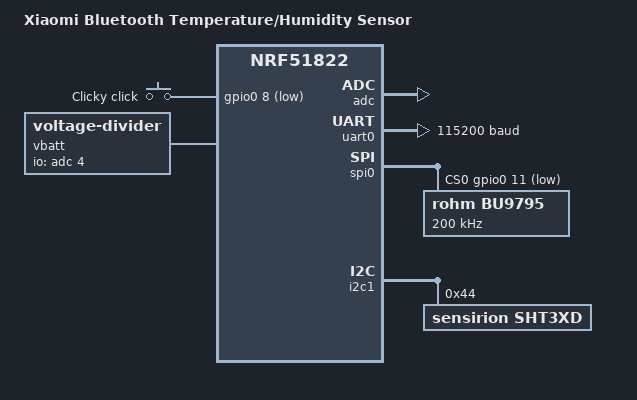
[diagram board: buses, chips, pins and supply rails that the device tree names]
/*
 * Copyright (c) 2017 VNG IoT Lab Limited
 *
 * SPDX-License-Identifier: Apache-2.0
 */

/dts-v1/;
#include <nordic/nrf51822_qfaa.dtsi>
#include "xiaomi_bt_sensor-pinctrl.dtsi"
#include <zephyr/dt-bindings/input/input-event-codes.h>

/ {
	model = "Xiaomi Bluetooth Temperature/Humidity Sensor";
	compatible = "nordic,nrf51822-qfaa", "nordic,nrf51822";

	chosen {
		zephyr,console = &uart0;
		zephyr,shell-uart = &uart0;
		zephyr,uart-mcumgr = &uart0;
		zephyr,sram = &sram0;
		zephyr,flash = &flash0;
	};

	aliases {
		sw0 = &button0;
		segment0 = &segment0;
		sensor0 = &sensor0;
		vbatt = &vbatt;
	};

	buttons {
		compatible = "gpio-keys";
		button0: button_0 {
			gpios = <&gpio0 8 (GPIO_ACTIVE_LOW | GPIO_PULL_UP)>;
			label = "Clicky click";
			zephyr,code = <INPUT_KEY_0>;
		};
	};

	vbatt: vbatt {
		compatible = "voltage-divider";
		io-channels = <&adc 4>;
		output-ohms = <180000>;
		full-ohms = <(180000 + 180000)>;
	};
};

&adc {
	status = "okay";
};

&gpiote {
	status = "okay";
};

&gpio0 {
	status = "okay";
};

&uart0 {
	current-speed = <115200>;
	status = "okay";
	pinctrl-0 = <&uart0_default>;
	pinctrl-1 = <&uart0_sleep>;
	pinctrl-names = "default", "sleep";
};

&spi0 {
	compatible = "nordic,nrf-spi";
	status = "okay";
	cs-gpios = <&gpio0 11 GPIO_ACTIVE_LOW>;
	pinctrl-0 = <&spi0_default>;
	pinctrl-1 = <&spi0_sleep>;
	pinctrl-names = "default", "sleep";

	segment0: segment@0 {
		compatible = "rohm,bu9795";
		status = "okay";
		spi-max-frequency = <200000>;
		label = "BU9795";
		reg = <0>;
	};
};

&i2c1 {
	status = "okay";
	/* smba-pin = <2>; */
	pinctrl-0 = <&i2c1_default>;
	pinctrl-1 = <&i2c1_sleep>;
	pinctrl-names = "default", "sleep";

	sensor0: sht3xd@44 {
		compatible = "sensirion,sht3xd";
		status = "okay";
		label = "SHT3XD";
		reg = <0x44>;
	};
};

&flash0 {
	/*
	 * For more information, see:
	 * http: //docs.zephyrproject.org/latest/guides/dts/index.html#flash-partitions
	 */
	partitions {
		compatible = "fixed-partitions";
		#address-cells = <1>;
		#size-cells = <1>;

		boot_partition: partition@0 {
			label = "mcuboot";
			reg = <0x00000000 0x8000>;
		};
		slot0_partition: partition@8000 {
			label = "image-0";
			reg = <0x00008000 0x1a000>;
		};
		slot1_partition: partition@22000 {
			label = "image-1";
			reg = <0x00022000 0x1a000>;
		};
		scratch_partition: partition@3c000 {
			label = "image-scratch";
			reg = <0x0003c000 0x2000>;
		};
		storage_partition: partition@3e000 {
			label = "storage";
			reg = <0x0003e000 0x00002000>;
		};
	};
};
